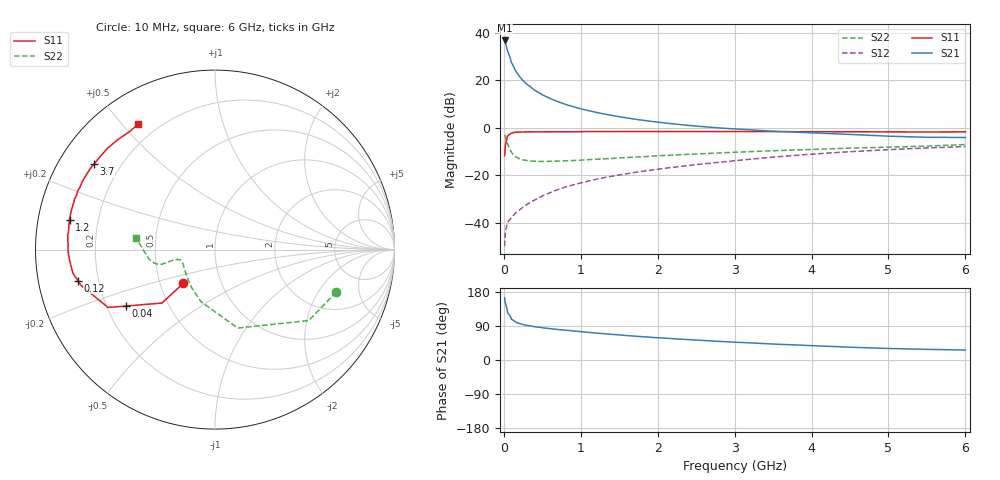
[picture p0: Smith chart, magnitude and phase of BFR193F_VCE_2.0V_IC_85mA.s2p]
! Infineon Technologies  Discrete & RF Semiconductors
! BFR193F
! VCE =  2.0 V,  IC =  85 mA
! Common Emitter S-Parameters:  Jan 2017
# GHz  S  MA  R  50
!  f  S11  S21  S12  S22
! GHz  MAG  ANG  MAG  ANG  MAG  ANG  MAG  ANG
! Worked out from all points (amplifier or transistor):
!   77 points, 10 MHz to 6 GHz, reference 50 ohm
!   highest |S21| = 36.8 dB at 10 MHz (marker M1)
!   |S21| within 3 dB of that: start of sweep to 37.02 MHz
!   unconditionally stable (mu >= 1): 328 MHz to 3.104 GHz
!   at 130 MHz: K = 0.73, MSG = 31.1 dB, |S12| = -36.7 dB
!   at 2.2 GHz: K = 1.08, MAG = 7.5 dB, |S12| = -16.7 dB
!   at 6 GHz: K = 0.95, MSG = 1.9 dB, |S12| = -7.9 dB
!   S11 on the Smith chart (normalised r, x): 10 MHz: 0.66, -0.26; 40 MHz: 0.28, -0.27; 120 MHz: 0.12, -0.11; 1.2 GHz: 0.10, +0.10; 3.7 GHz: 0.10, +0.31; 6 GHz: 0.13, +0.55
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0.01  0.2565 -133.2  68.8 164.3  0.0032 71.9  0.7156 -19.3
0.02  0.4199 -134.8  62.01 150.0  0.0065 59.6  0.6552 -37.1
0.04  0.5873 -147.6  46.66 135.3  0.009 53.5  0.4962 -58.5
0.05  0.6778 -151.6  40.76 124.2  0.0102 51.6  0.4554 -73.8
0.1  0.7728 -165.1  23.38 107.4  0.0128 50.4  0.3006 -105.0
0.12  0.7838 -167.3  20.43 105.3  0.014 51.5  0.2764 -111.1
0.15  0.8025 -170.6  16.09 100.6  0.0159 52.9  0.2472 -122.2
0.2  0.8081 -173.8  12.19 96.3  0.0184 57.8  0.223 -132.4
0.25  0.8127 -176.2  9.787 93.5  0.0212 61.2  0.2094 -140.6
0.3  0.816 -177.7  8.191 91.3  0.0242 63.9  0.2038 -145.7
0.4  0.8192 179.7  6.154 87.8  0.03 69.2  0.1968 -152.7
0.5  0.8185 177.8  4.942 85.2  0.0366 71.1  0.1948 -156.8
0.7  0.8242 174.4  3.553 80.5  0.0497 74.0  0.1983 -161.4
0.9  0.8233 171.9  2.78 76.7  0.0624 75.0  0.2039 -163.9
1.1  0.8268 169.5  2.289 72.9  0.0754 75.7  0.2127 -164.6
1.2  0.8272 168.4  2.106 71.1  0.0818 75.9  0.217 -165.4
2.1  0.8302 159.4  1.258 57.5  0.1401 74.8  0.2606 -165.4
3.1  0.8295 150.6  0.922 46.1  0.209 71.9  0.3086 -164.7
3.7  0.8259 144.8  0.818 40.5  0.2546 68.9  0.3357 -166.4
4.1  0.823 140.9  0.768 37.1  0.2842 66.3  0.3528 -168.6
5.1  0.8159 130.3  0.656 30.0  0.3502 59.1  0.3936 -178.3
6  0.8201 121.4  0.623 26.3  0.4006 52.7  0.4425 171.9
